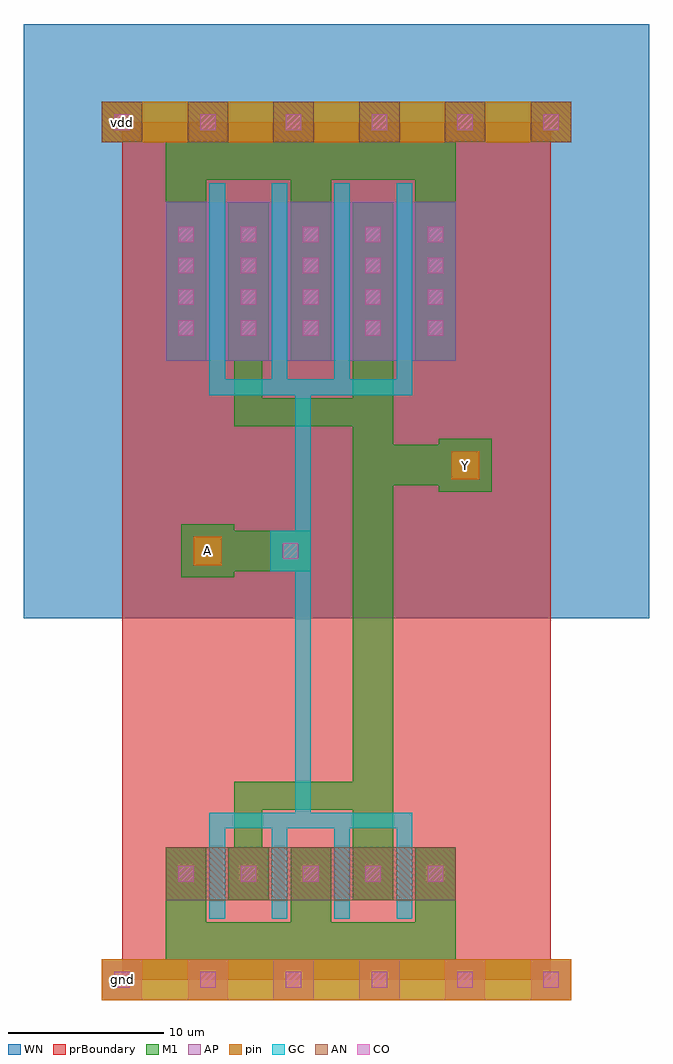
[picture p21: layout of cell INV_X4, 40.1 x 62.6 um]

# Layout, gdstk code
import gdstk
lib = gdstk.Library(unit=1e-6, precision=1e-09)
def R(c, l, rs):  # rectangles x0, y0, x1, y1
    for r in rs: c.add(gdstk.rectangle(r[:2], r[2:], *l))
def A(c, l, x, y, w, h, nx, ny, dx, dy):  # array of equal rectangles
    R(c, l, [(x+i*dx, y+j*dy, x+i*dx+w, y+j*dy+h) for i in range(nx) for j in range(ny)])
def P(c, l, *ps):  # polygons
    for p in ps: c.add(gdstk.Polygon(p, *l))
AP = (3, 1)
AN = (3, 2)
GC = (8, 1)
CO = (11, 0)
M1 = (13, 0)
pin = (48, 1)
WN = (140, 0)
prBoundary = (235, 0)

inv_x4 = lib.new_cell('INV_X4')
A(inv_x4, AP, -1.3, -1.3, 2.6, 2.6, 6, 1, 5.5, 0)
R(inv_x4, AP, [(2.8,39.7,21.4,49.9), (2.8,39.7,21.4,49.9)])
A(inv_x4, AN, -1.3, 53.7, 2.6, 2.6, 6, 1, 5.5, 0)
R(inv_x4, AN, [(2.8,5.1,21.4,8.5)])
P(inv_x4, GC, [(5.6,3.9),(5.6,10.7),(11.1,10.7),(11.1,26.2),(9.5,26.2),(9.5,28.8),(11.1,28.8),(11.1,37.5),(5.6,37.5),(5.6,51.1),(6.6,51.1),(6.6,38.5),(9.6,38.5),(9.6,51.1),(10.6,51.1),(10.6,38.5),(13.6,38.5),(13.6,51.1),(14.6,51.1),(14.6,38.5),(17.6,38.5),(17.6,51.1),(18.6,51.1),(18.6,37.5),(12.1,37.5),(12.1,10.7),(18.6,10.7),(18.6,3.9),(17.6,3.9),(17.6,9.7),(14.6,9.7),(14.6,3.9),(13.6,3.9),(13.6,9.7),(10.6,9.7),(10.6,3.9),(9.6,3.9),(9.6,9.7),(6.6,9.7),(6.6,3.9)])
A(inv_x4, CO, -0.5, -0.5, 1, 1, 6, 2, 5.5, 55)
A(inv_x4, CO, 3.6, 6.3, 1, 1, 5, 2, 4, 35)
A(inv_x4, CO, 3.6, 43.3, 1, 1, 5, 3, 4, 2)
R(inv_x4, CO, [(10.3,27,11.3,28)])
P(inv_x4, M1, [(-1.3,-1.3),(-1.3,1.3),(2.8,1.3),(2.8,8.5),(5.4,8.5),(5.4,3.7),(10.8,3.7),(10.8,8.5),(13.4,8.5),(13.4,3.7),(18.8,3.7),(18.8,8.5),(21.4,8.5),(21.4,1.3),(28.8,1.3),(28.8,-1.3)],
  [(3.8,25.8),(3.8,29.2),(7.2,29.2),(7.2,28.8),(12.1,28.8),(12.1,26.2),(7.2,26.2),(7.2,25.8)],
  [(6.8,5.1),(6.8,8.5),(7.2,8.5),(7.2,12.7),(14.8,12.7),(14.8,35.5),(7.2,35.5),(7.2,39.7),(6.8,39.7),(6.8,49.9),(9.4,49.9),(9.4,39.7),(9,39.7),(9,37.3),(14.8,37.3),(14.8,49.9),(17.4,49.9),(17.4,34.3),(20.3,34.3),(20.3,34.7),(23.7,34.7),(23.7,31.3),(20.3,31.3),(20.3,31.7),(17.4,31.7),(17.4,5.1),(14.8,5.1),(14.8,10.9),(9,10.9),(9,8.5),(9.4,8.5),(9.4,5.1)],
  [(2.8,39.7),(2.8,53.7),(-1.3,53.7),(-1.3,56.3),(28.8,56.3),(28.8,53.7),(21.4,53.7),(21.4,39.7),(18.8,39.7),(18.8,51.3),(13.4,51.3),(13.4,39.7),(10.8,39.7),(10.8,51.3),(5.4,51.3),(5.4,39.7)])
R(inv_x4, pin, [(-1.3,-1.3,28.8,1.3), (4.6,26.6,6.4,28.4), (21.1,32.1,22.9,33.9), (-1.3,53.7,28.8,56.3)])
R(inv_x4, WN, [(-6.3,23.2,33.8,61.3)])
R(inv_x4, prBoundary, [(0,0,27.5,55)])
inv_x4.add(gdstk.Label('Y', (22,33), layer=48, texttype=0))
inv_x4.add(gdstk.Label('A', (5.5,27.5), layer=48, texttype=0))
inv_x4.add(gdstk.Label('vdd', (0,55), layer=48, texttype=0))
inv_x4.add(gdstk.Label('gnd', (0,0), layer=48, texttype=0))

lib.write_gds('INV_X4.gds')
